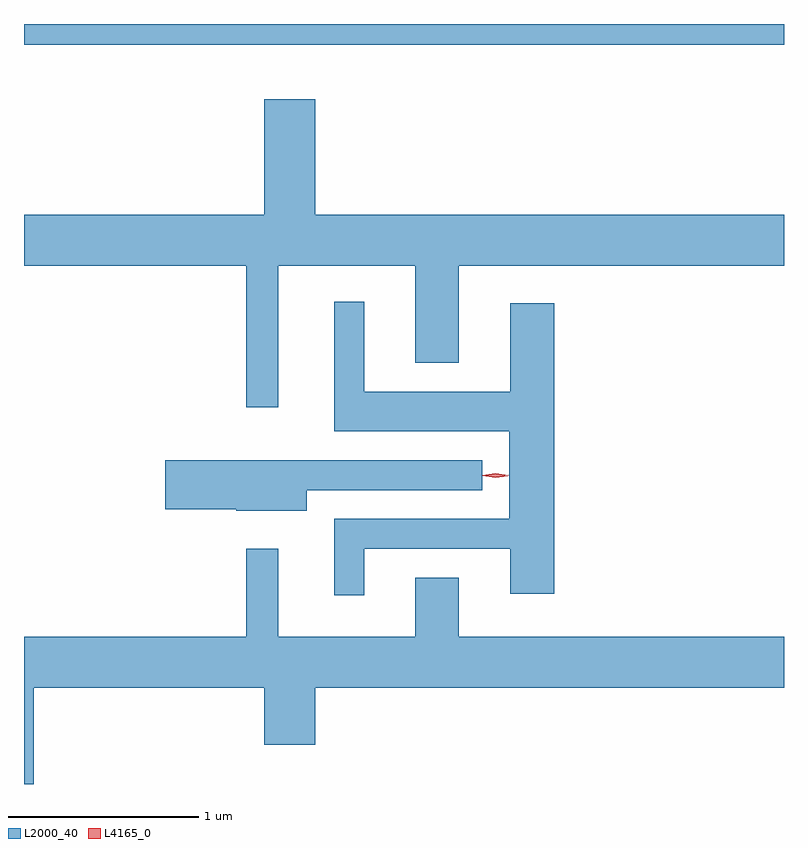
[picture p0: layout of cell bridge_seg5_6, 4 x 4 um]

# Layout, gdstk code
import gdstk
lib = gdstk.Library(unit=1e-6, precision=1e-09)
def R(c, l, rs):  # rectangles x0, y0, x1, y1
    for r in rs: c.add(gdstk.rectangle(r[:2], r[2:], *l))
def P(c, l, *ps):  # polygons
    for p in ps: c.add(gdstk.Polygon(p, *l))
L2000_40 = (2000, 40)
L4165_0 = (4165, 0)

bridge_seg5_6 = lib.new_cell('bridge_seg5_6')
R(bridge_seg5_6, L2000_40, [(1672.352,1413.561,1676.352,1413.669)])
P(bridge_seg5_6, L2000_40, [(1673.689,1412.396),(1674.411,1412.396),(1674.411,1411.886),(1674.639,1411.886),(1674.639,1412.396),(1676.352,1412.396),(1676.352,1412.664),(1673.884,1412.664),(1673.884,1413.274),(1673.616,1413.274),(1673.616,1412.664),(1672.352,1412.664),(1672.352,1412.396),(1673.521,1412.396),(1673.521,1411.653),(1673.689,1411.653)],
  [(1674.144,1410.906),(1674.911,1410.906),(1674.911,1410.671),(1675.144,1410.671),(1675.144,1412.199),(1674.911,1412.199),(1674.911,1411.734),(1674.144,1411.734),(1674.144,1412.208),(1673.986,1412.208),(1673.986,1411.526),(1674.906,1411.526),(1674.906,1411.064),(1673.986,1411.064),(1673.986,1410.663),(1674.144,1410.663)],
  [(1673.839,1411.216),(1674.763,1411.216),(1674.763,1411.374),(1673.096,1411.374),(1673.096,1411.116),(1673.47,1411.116),(1673.47,1411.106),(1673.839,1411.106)],
  [(1672.404,1410.176),(1673.616,1410.176),(1673.616,1409.876),(1673.884,1409.876),(1673.884,1410.176),(1676.352,1410.176),(1676.352,1410.444),(1674.639,1410.444),(1674.639,1410.754),(1674.411,1410.754),(1674.411,1410.444),(1673.689,1410.444),(1673.689,1410.908),(1673.521,1410.908),(1673.521,1410.444),(1672.352,1410.444),(1672.352,1409.669),(1672.404,1409.669)])
P(bridge_seg5_6, L4165_0, [(1674.833,1411.285),(1674.764,1411.294),(1674.763,1411.295),(1674.764,1411.295),(1674.833,1411.305),(1674.902,1411.295),(1674.902,1411.295),(1674.902,1411.294)],
  [(1674.833,1411.28),(1674.767,1411.291),(1674.767,1411.292),(1674.767,1411.292),(1674.833,1411.3),(1674.899,1411.29),(1674.899,1411.289),(1674.899,1411.288)])

lib.write_gds('bridge_seg5_6.gds')
